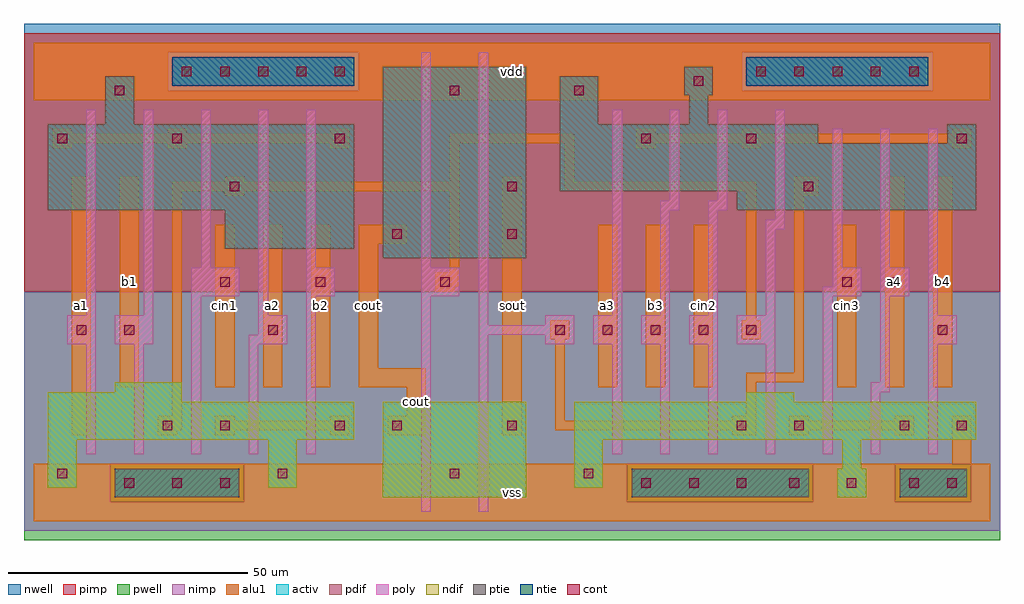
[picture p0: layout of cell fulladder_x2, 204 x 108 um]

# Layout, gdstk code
import gdstk
lib = gdstk.Library(unit=1e-6, precision=1e-09)
def R(c, l, rs):  # rectangles x0, y0, x1, y1
    for r in rs: c.add(gdstk.rectangle(r[:2], r[2:], *l))
def A(c, l, x, y, w, h, nx, ny, dx, dy):  # array of equal rectangles
    R(c, l, [(x+i*dx, y+j*dy, x+i*dx+w, y+j*dy+h) for i in range(nx) for j in range(ny)])
ndif = (3, 0)
pdif = (4, 0)
ntie = (5, 0)
ptie = (6, 0)
cont = (25, 0)
pwell = (41, 0)
nwell = (42, 0)
activ = (43, 0)
pimp = (44, 0)
nimp = (45, 0)
poly = (46, 0)
alu1 = (49, 0)

fulladder_x2 = lib.new_cell('fulladder_x2')
R(fulladder_x2, ndif, [(73,5,103,25), (168,5,174,11), (3,7,9,17), (49,7,55,17), (113,7,119,17), (169,11,173,17), (3,17,67,25), (113,17,197,25), (3,25,31,27), (149,25,159,27), (17,27,31,29)])
R(fulladder_x2, pdif, [(73,55,103,95), (40,57,67,65), (3,65,67,83), (147,65,197,69), (110,69,197,79), (110,79,164,83), (191,79,197,83), (15,83,21,93), (110,83,118,93), (137,83,141,89), (136,89,142,95)])
R(fulladder_x2, ntie, [(29,91,67,97), (149,91,187,97)])
R(fulladder_x2, ptie, [(17,5,43,11), (125,5,162,11), (181,5,195,11)])
A(fulladder_x2, cont, 19, 7, 2, 2, 3, 1, 10, 0)
A(fulladder_x2, cont, 127, 7, 2, 2, 3, 1, 10, 0)
A(fulladder_x2, cont, 109, 39, 2, 2, 5, 1, 10, 0)
A(fulladder_x2, cont, 31, 93, 2, 2, 5, 1, 8, 0)
A(fulladder_x2, cont, 151, 93, 2, 2, 5, 1, 8, 0)
R(fulladder_x2, cont, [(158,7,160,9), (170,7,172,9), (183,7,185,9), (191,7,193,9), (5,9,7,11), (51,9,53,11), (87,9,89,11), (115,9,117,11), (27,19,29,21), (39,19,41,21), (63,19,65,21), (75,19,77,21), (99,19,101,21), (147,19,149,21), (159,19,161,21), (181,19,183,21), (193,19,195,21), (9,39,11,41), (19,39,21,41), (49,39,51,41), (189,39,191,41), (39,49,41,51), (59,49,61,51), (85,49,87,51), (169,49,171,51), (179,49,181,51), (75,59,77,61), (99,59,101,61), (41,69,43,71), (99,69,101,71), (161,69,163,71), (5,79,7,81), (29,79,31,81), (63,79,65,81), (127,79,129,81), (149,79,151,81), (193,79,195,81), (17,89,19,91), (87,89,89,91), (113,89,115,91), (138,91,140,93)])
R(fulladder_x2, pwell, [(-2,-4,202,48)])
R(fulladder_x2, nwell, [(-2,48,202,104)])
R(fulladder_x2, activ, [(17,5,43,11), (73,5,103,25), (125,5,162,11), (168,5,174,11), (181,5,195,11), (3,7,9,17), (49,7,55,17), (113,7,119,17), (169,11,173,17), (3,17,67,25), (113,17,197,25), (3,25,31,27), (149,25,159,27), (17,27,31,29), (73,55,103,95), (40,57,67,65), (3,65,67,83), (147,65,197,69), (110,69,197,79), (110,79,164,83), (191,79,197,83), (15,83,21,93), (110,83,118,93), (137,83,141,89), (136,89,142,95), (29,91,67,97), (149,91,187,97)])
R(fulladder_x2, pimp, [(16,4,44,12), (124,4,163,12), (180,4,196,12), (-2,48,202,90), (-2,90,28,98), (68,90,148,98), (188,90,202,98), (-2,98,202,102)])
R(fulladder_x2, nimp, [(-2,-2,202,4), (-2,4,16,12), (44,4,124,12), (163,4,180,12), (196,4,202,12), (-2,12,202,48), (28,90,68,98), (148,90,188,98)])
A(fulladder_x2, poly, 121, 14, 2, 23, 3, 1, 10, 0)
A(fulladder_x2, poly, 117, 37, 6, 6, 3, 1, 10, 0)
R(fulladder_x2, poly, [(81,2,83,47), (93,2,95,39), (11,14,13,37), (21,14,23,37), (33,14,35,47), (45,14,47,37), (57,14,59,47), (153,14,155,37), (165,14,167,47), (175,14,177,27), (187,14,189,37), (175,27,179,29), (177,29,179,47), (7,37,13,43), (17,37,25,43), (45,37,53,39), (107,37,113,39), (147,37,155,43), (187,37,193,43), (47,39,53,43), (93,39,113,41), (93,41,95,98), (107,41,113,43), (11,43,13,86), (23,43,25,86), (47,43,49,86), (121,43,123,86), (131,43,133,65), (141,43,143,65), (153,43,155,61), (187,43,189,82), (33,47,43,53), (57,47,63,53), (81,47,89,53), (165,47,173,49), (177,47,183,53), (167,49,173,53), (35,53,37,86), (57,53,59,86), (81,53,83,98), (167,53,169,82), (177,53,179,82), (153,61,157,63), (155,63,157,86), (131,65,135,67), (141,65,145,67), (133,67,135,86), (143,67,145,86)])
A(fulladder_x2, alu1, 38, 28, 4, 34, 3, 1, 10, 0)
A(fulladder_x2, alu1, 118, 28, 4, 34, 3, 1, 10, 0)
R(fulladder_x2, alu1, [(0,0,200,12), (192,12,196,22), (8,18,12,72), (26,18,30,19), (38,18,42,19), (62,18,66,19), (74,18,82,22), (98,18,102,72), (146,18,151,19), (158,18,162,19), (180,18,184,19), (26,19,31,22), (38,19,66,21), (109,19,151,21), (158,19,184,21), (38,21,42,22), (62,21,66,22), (109,21,111,38), (146,21,151,22), (158,21,162,22), (180,21,184,22), (29,22,31,69), (78,22,82,28), (149,22,151,29), (18,28,22,72), (68,28,82,32), (168,28,172,62), (178,28,182,72), (188,28,192,72), (149,29,161,31), (159,31,161,68), (68,32,72,58), (108,38,112,42), (148,38,152,42), (149,42,151,69), (84,48,88,49), (84,49,89,52), (87,52,89,69), (68,58,78,62), (40,68,44,69), (159,68,164,72), (29,69,89,71), (111,69,151,71), (40,71,44,72), (87,71,89,79), (111,71,113,79), (4,78,8,79), (28,78,32,79), (62,78,66,79), (126,78,130,79), (148,78,152,79), (192,78,196,79), (4,79,66,81), (87,79,113,81), (126,79,196,81), (4,81,8,82), (28,81,32,82), (62,81,66,82), (126,81,130,82), (148,81,152,82), (192,81,196,82), (0,88,200,100)])
fulladder_x2.add(gdstk.Label('a1', (10,45), layer=49, texttype=0))
fulladder_x2.add(gdstk.Label('b1', (20,50), layer=49, texttype=0))
fulladder_x2.add(gdstk.Label('b2', (60,45), layer=49, texttype=0))
fulladder_x2.add(gdstk.Label('a2', (50,45), layer=49, texttype=0))
fulladder_x2.add(gdstk.Label('cout', (70,45), layer=49, texttype=0))
fulladder_x2.add(gdstk.Label('cin1', (40,45), layer=49, texttype=0))
fulladder_x2.add(gdstk.Label('vss', (100,6), layer=49, texttype=0))
fulladder_x2.add(gdstk.Label('cout', (80,25), layer=49, texttype=0))
fulladder_x2.add(gdstk.Label('sout', (100,45), layer=49, texttype=0))
fulladder_x2.add(gdstk.Label('vdd', (100,94), layer=49, texttype=0))
fulladder_x2.add(gdstk.Label('cin2', (140,45), layer=49, texttype=0))
fulladder_x2.add(gdstk.Label('b3', (130,45), layer=49, texttype=0))
fulladder_x2.add(gdstk.Label('a3', (120,45), layer=49, texttype=0))
fulladder_x2.add(gdstk.Label('cin3', (170,45), layer=49, texttype=0))
fulladder_x2.add(gdstk.Label('a4', (180,50), layer=49, texttype=0))
fulladder_x2.add(gdstk.Label('b4', (190,50), layer=49, texttype=0))

lib.write_gds('fulladder_x2.gds')
